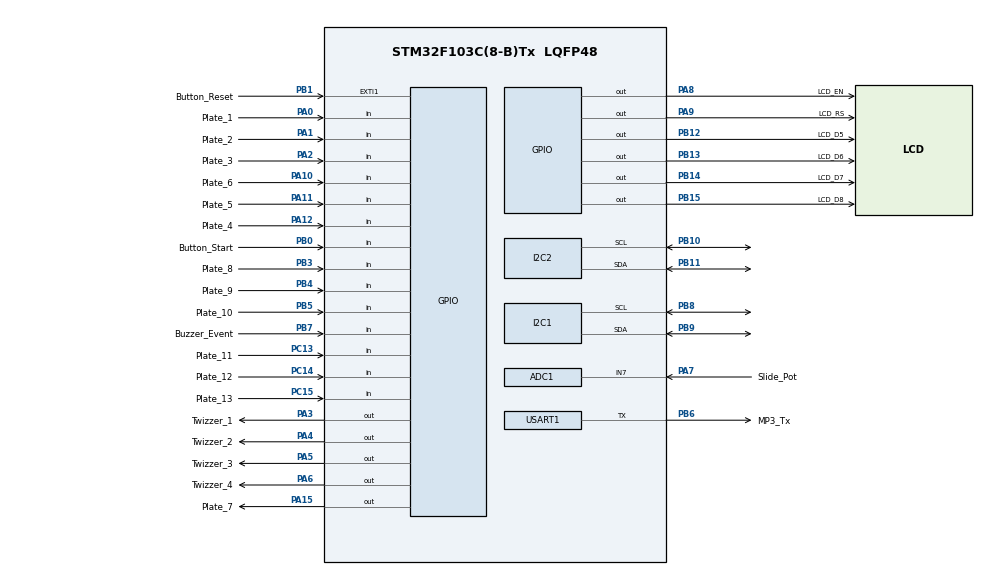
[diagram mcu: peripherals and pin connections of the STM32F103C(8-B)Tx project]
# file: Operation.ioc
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ADC1.Channel-0\#ChannelRegularConversion=ADC_CHANNEL_7
ADC1.ContinuousConvMode=ENABLE
ADC1.NbrOfConversionFlag=1
ADC1.Rank-0\#ChannelRegularConversion=1
ADC1.SamplingTime-0\#ChannelRegularConversion=ADC_SAMPLETIME_1CYCLE_5
ADC1.master=1
FREERTOS.BinarySemaphores01=OLED1_sem,Dynamic,NULL;OLED2_sem,Dynamic,NULL;OLED3_sem,Dynamic,NULL;OLED4_sem,Dynamic,NULL;Music_sem,Dynamic,NULL
FREERTOS.INCLUDE_vTaskDelayUntil=1
FREERTOS.Tasks01=LCD,3,128,LCD_Function,Default,NULL,Dynamic,NULL,NULL;Play_Sound,0,128,Sound_Function,Default,NULL,Dynamic,NULL,NULL;GamePlay,-1,128,Game,Default,NULL,Dynamic,NULL,NULL
FREERTOS.configTOTAL_HEAP_SIZE=6148
I2C1.I2C_Mode=I2C_Fast
I2C2.I2C_Mode=I2C_Fast
Mcu.Family=STM32F1
Mcu.Name=STM32F103C(8-B)Tx
Mcu.Package=LQFP48
NVIC.PriorityGroup=NVIC_PRIORITYGROUP_4
NVIC.TIM2_IRQn=true\:0\:0\:false\:false\:true\:false\:false\:true
NVIC.TIM3_IRQn=true\:0\:0\:false\:false\:true\:true\:true\:true
NVIC.TimeBase=TIM2_IRQn
NVIC.TimeBaseIP=TIM2
PA0-WKUP.GPIO_Label=Plate_1
PA0-WKUP.GPIO_PuPd=GPIO_PULLDOWN
PA0-WKUP.Signal=GPIO_Input
PA1.GPIO_Label=Plate_2
PA1.GPIO_PuPd=GPIO_PULLDOWN
PA1.Signal=GPIO_Input
PA10.GPIO_Label=Plate_6
PA10.GPIO_PuPd=GPIO_PULLDOWN
PA10.Signal=GPIO_Input
PA11.GPIO_Label=Plate_5
PA11.GPIO_PuPd=GPIO_PULLDOWN
PA11.Signal=GPIO_Input
PA12.GPIO_Label=Plate_4
PA12.GPIO_PuPd=GPIO_PULLDOWN
PA12.Signal=GPIO_Input
PA13.Mode=Serial_Wire
PA13.Signal=SYS_JTMS-SWDIO
PA14.Mode=Serial_Wire
PA14.Signal=SYS_JTCK-SWCLK
PA15.GPIO_Label=Plate_7
PA15.Signal=GPIO_Output
PA2.GPIO_Label=Plate_3
PA2.GPIO_PuPd=GPIO_PULLDOWN
PA2.Signal=GPIO_Input
PA3.GPIO_Label=Twizzer_1
PA3.Signal=GPIO_Output
PA4.GPIO_Label=Twizzer_2
PA4.Signal=GPIO_Output
PA5.GPIO_Label=Twizzer_3
PA5.Signal=GPIO_Output
PA6.GPIO_Label=Twizzer_4
PA6.Signal=GPIO_Output
PA7.GPIO_Label=Slide_Pot
PA7.Signal=SharedAnalog_PA7
PA8.GPIO_Label=LCD_EN
PA8.Signal=GPIO_Output
PA9.GPIO_Label=LCD_RS
PA9.Signal=GPIO_Output
PB0.GPIO_Label=Button_Start
PB0.Signal=GPIO_Input
PB1.GPIO_Label=Button_Reset
PB1.Signal=GPXTI1
PB10.Mode=I2C
PB10.Signal=I2C2_SCL
PB11.Mode=I2C
PB11.Signal=I2C2_SDA
PB12.GPIO_Label=LCD_D5
PB12.Signal=GPIO_Output
PB13.GPIO_Label=LCD_D6
PB13.Signal=GPIO_Output
PB14.GPIO_Label=LCD_D7
PB14.Signal=GPIO_Output
PB15.GPIO_Label=LCD_D8
PB15.Signal=GPIO_Output
PB3.GPIO_Label=Plate_8
PB3.GPIO_PuPd=GPIO_PULLDOWN
PB3.Signal=GPIO_Input
PB4.GPIO_Label=Plate_9
PB4.GPIO_PuPd=GPIO_PULLDOWN
PB4.Signal=GPIO_Input
PB5.GPIO_Label=Plate_10
PB5.GPIO_PuPd=GPIO_PULLDOWN
PB5.Signal=GPIO_Input
PB6.GPIO_Label=MP3_Tx
PB6.Mode=Half_duplex(single_wire_mode)
PB6.Signal=USART1_TX
PB7.GPIO_Label=Buzzer_Event
PB7.Signal=GPIO_Input
PB8.Mode=I2C
PB8.Signal=I2C1_SCL
PB9.Mode=I2C
PB9.Signal=I2C1_SDA
PC13-TAMPER-RTC.GPIO_Label=Plate_11
PC13-TAMPER-RTC.GPIO_PuPd=GPIO_PULLDOWN
PC13-TAMPER-RTC.Signal=GPIO_Input
PC14-OSC32_IN.GPIO_Label=Plate_12
PC14-OSC32_IN.GPIO_PuPd=GPIO_PULLDOWN
PC14-OSC32_IN.Signal=GPIO_Input
PC15-OSC32_OUT.GPIO_Label=Plate_13
PC15-OSC32_OUT.GPIO_PuPd=GPIO_PULLDOWN
PC15-OSC32_OUT.Signal=GPIO_Input
PD0-OSC_IN.Mode=HSE-External-Oscillator
PD0-OSC_IN.Signal=RCC_OSC_IN
PD1-OSC_OUT.Mode=HSE-External-Oscillator
PD1-OSC_OUT.Signal=RCC_OSC_OUT
ProjectManager.HeapSize=0x200
ProjectManager.StackSize=0x400
ProjectManager.TargetToolchain=STM32CubeIDE
RCC.APB1Freq_Value=8000000
RCC.APB2Freq_Value=8000000
SH.SharedAnalog_PA7.0=GPIO_Analog
SH.SharedAnalog_PA7.1=ADC1_IN7,IN7
TIM3.Period=0xffff-1
TIM3.Prescaler=72-1
USART1.BaudRate=9600
USART1.Mode=MODE_TX
USART1.VirtualMode=VM_ASYNC
VP_FREERTOS_VS_CMSIS_V1.Mode=CMSIS_V1
VP_SYS_VS_tim2.Mode=TIM2
VP_TIM3_VS_ClockSourceINT.Mode=Internal
board=custom

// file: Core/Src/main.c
/* USER CODE BEGIN Header */
/**
  ******************************************************************************
  * @file           : main.c
  * @brief          : Main program body
  * Author		:Ahmed Hisham Farouk
  ******************************************************************************
  * @attention
  *
  * <h2><center>&copy; Copyright (c) 2024 STMicroelectronics.
  * All rights reserved.</center></h2>
  *
  * This software component is licensed by ST under BSD 3-Clause license,
  * the "License"; You may not use this file except in compliance with the
  * License. You may obtain a copy of the License at:
  *                        opensource.org/licenses/BSD-3-Clause
  *
  ******************************************************************************
  */
/* USER CODE END Header */
#include "main.h"
#include "cmsis_os.h"

/* USER CODE BEGIN Includes */
#include "lcd.h"
#include "ssd1306.h"
#include "fonts.h"
#include "DFPLAYER_MINI.h"

/* USER CODE END Includes */

/* USER CODE BEGIN PTD */

typedef enum {
	OLED1=0,
	OLED2,
	OLED3,
	OLED4
}OLED_type;

typedef struct{
	GPIO_TypeDef *	In_Port;
	uint16_t In_Pin;
}Input_H;

typedef enum{
	Interrupted,
	Timeout,
	Waiting
}TIM_State;
/* USER CODE END PTD */

/* USER CODE BEGIN PD */
#define OLED1_ADD	0x78
#define OLED2_ADD	0x7A
/* USER CODE END PD */

ADC_HandleTypeDef hadc1;

I2C_HandleTypeDef hi2c1;
I2C_HandleTypeDef hi2c2;

TIM_HandleTypeDef htim3;

UART_HandleTypeDef huart1;

osThreadId LCDHandle;
osThreadId Play_SoundHandle;
osThreadId GamePlayHandle;
osSemaphoreId OLED1_semHandle;
osSemaphoreId OLED2_semHandle;
osSemaphoreId OLED3_semHandle;
osSemaphoreId OLED4_semHandle;
osSemaphoreId Music_semHandle;
/* USER CODE BEGIN PV */
uint32_t Score_Player[4];
Input_H Input_Position [] = {
		{Plate_1_GPIO_Port,Plate_1_Pin},{Plate_2_GPIO_Port,Plate_2_Pin},{Plate_3_GPIO_Port,Plate_3_Pin},{Plate_4_GPIO_Port,Plate_4_Pin},
		{Plate_5_GPIO_Port,Plate_5_Pin},{Plate_6_GPIO_Port,Plate_6_Pin},{Plate_7_GPIO_Port,Plate_7_Pin},{Plate_8_GPIO_Port,Plate_8_Pin},
		{Plate_9_GPIO_Port,Plate_9_Pin},{Plate_10_GPIO_Port,Plate_10_Pin},{Plate_11_GPIO_Port,Plate_11_Pin},{Plate_12_GPIO_Port,Plate_12_Pin},
		{Plate_13_GPIO_Port,Plate_13_Pin}
};
unsigned char Score_Plate[] = {
		1,2,3,4,
		5,6,7,8,
		9,10,11,12,
		13
};
uint16_t Twizzers_Pins[] = {	Twizzer_1_Pin , Twizzer_2_Pin , Twizzer_3_Pin , Twizzer_4_Pin};

char Start_Time = -1;
TIM_State State = Interrupted;

uint8_t PlatesCounter;

char* Colors[] = {"Blue","Red","Green", "Yellow"};
/* USER CODE END PV */

void SystemClock_Config(void);
static void MX_GPIO_Init(void);
static void MX_I2C1_Init(void);
static void MX_I2C2_Init(void);
static void MX_USART1_UART_Init(void);
static void MX_ADC1_Init(void);
static void MX_TIM3_Init(void);
void LCD_Function(void const * argument);
void Sound_Function(void const * argument);
void Game(void const * argument);

/* USER CODE BEGIN PFP */
uint8_t get_timeIn(void);
void print_OLED(OLED_type OLED, char* string);

void Start_Game(void);

void End_Game(void);

/* USER CODE END PFP */

/* USER CODE BEGIN 0 */
uint8_t get_timeIn(void)
{
	uint32_t adc_value =0;

	HAL_ADC_Start(&hadc1);
		  // ADC poll for conversion
	HAL_ADC_PollForConversion(&hadc1, 100);
		  // get the ADC conversion value
	adc_value = HAL_ADC_GetValue(&hadc1);
		  // end ADC conversion
	HAL_ADC_Stop(&hadc1);
	/*	edit conversion from ADC to Time	*/
	uint8_t time = (uint8_t) (adc_value/10);
	return time;

}

void print_OLED(OLED_type OLED, char* string)
{
	switch(OLED)
	{
	case OLED1:
		ssd1306_SetCursor(0, 0);
		  ssd1306_WriteString("Blue Player", Font_11x18, White);

		  ssd1306_SetCursor(0, 36);
		  ssd1306_WriteString(string, Font_11x18, White);

		  ssd1306_UpdateScreen(&hi2c1,OLED1_ADD);
		break;

	case OLED2:
		ssd1306_SetCursor(0, 0);
		ssd1306_WriteString("Red Player", Font_11x18, White);

		ssd1306_SetCursor(0, 36);
		ssd1306_WriteString(string, Font_11x18, White);

		ssd1306_UpdateScreen(&hi2c1,OLED2_ADD);
		break;

	case OLED3:
		ssd1306_SetCursor(0, 0);
		ssd1306_WriteString("Green Player", Font_11x18, White);

		ssd1306_SetCursor(0, 36);
		ssd1306_WriteString(string, Font_11x18, White);

		ssd1306_UpdateScreen(&hi2c2,OLED1_ADD);
		break;
	case OLED4:
		ssd1306_SetCursor(0, 0);
		ssd1306_WriteString("Yellow Player", Font_11x18, White);

		ssd1306_SetCursor(0, 36);
		ssd1306_WriteString(string, Font_11x18, White);

		ssd1306_UpdateScreen(&hi2c2,OLED2_ADD);
		break;

	default:
		break;

	}

}

void Start_Game(void)
{
	vTaskSuspend(GamePlayHandle);
	char *ttl = "To skip Tutorial, Press Start";
		  	clearLCD();
		  	setCursor(0,0);
		  	writeLCD(ttl);

		    Start_Time = 5;
		    State=Waiting;
		    while(State ==Waiting)
		    {
		    	if (HAL_GPIO_ReadPin(Button_Start_GPIO_Port, Button_Start_Pin))
		    	{
		    		State = Interrupted;
		    	}
		    }

		    if (State ==Interrupted)
		    {

		    }
		    else
		    {
		    	clearLCD();
		    	ttl = "Explain Game";
		    	writeLCD(ttl);

		    	Start_Time = 5;
		    	State = Waiting;
		    	while(State == Waiting)
		    	{
		    		if (HAL_GPIO_ReadPin(Button_Start_GPIO_Port, Button_Start_Pin))
		    		{
		    			State = Interrupted;
		    		}
		    	}

		    }

	clearLCD();
	writeLCD("Set Game Time");
	setCursor(10,1);
	writeLCD("Start");
	while(!HAL_GPIO_ReadPin(Button_Start_GPIO_Port, Button_Start_Pin))
	{
		setCursor(0,1);
		char Str_Buffer[6];
		sprintf(Str_Buffer, "%d", get_timeIn());
		Str_Buffer[5]='\0';
		writeLCD(Str_Buffer);
	}

	Start_Time=get_timeIn();
	vTaskResume(GamePlayHandle);

}

void End_Game(void)
{
	vTaskSuspend(LCDHandle);

	uint32_t max_score =0;
	Start_Time =-1;
	State = Interrupted;

	for (uint8_t player_num=0;player_num < 4 ; player_num++)
	{
		if(max_score > Score_Player[player_num])
		{
			max_score = Score_Player[player_num];
		}

	}

	clearLCD();

	if(max_score>0)
	{
		writeLCD("Winner:");
		setCursor(0,1);
		for (uint8_t player_num=0;player_num < 4 ; player_num++)
			{
				if(max_score == Score_Player[player_num])
				{
					print_OLED(player_num, "Winner!");

					writeLCD(Colors[player_num]);
					writeLCD(" ");

				}
				else
				{
					print_OLED(player_num, "Game Over");
				}

			}
	}
	else{
		for (uint8_t player_num=0;player_num < 4 ; player_num++)
					{

							print_OLED(player_num, "Game Over");

					}
		writeLCD("No Winners");
	}

	Start_Time = 15;
	State=Waiting;
	while(State ==Waiting)
	{
		if (HAL_GPIO_ReadPin(Button_Start_GPIO_Port, Button_Start_Pin))
		{
			State = Interrupted;
			Start_Time=-1;
		}
	}
	vTaskResume(LCDHandle);

}

/* USER CODE END 0 */

int main(void)
{

  /* MCU Configuration--------------------------------------------------------*/

  /* Reset of all peripherals, Initializes the Flash interface and the Systick. */
  HAL_Init();

  /* Configure the system clock */
  SystemClock_Config();

  /* Initialize all configured peripherals */
  MX_GPIO_Init();
  MX_I2C1_Init();
  MX_I2C2_Init();
  MX_USART1_UART_Init();
  MX_ADC1_Init();
  MX_TIM3_Init();
  /* USER CODE BEGIN 2 */
  HAL_ADC_Start(&hadc1);
  DF_Init(10);
  initLCD();
  // Init lcd using one of the stm32HAL i2c typedefs
  if (ssd1306_Init(&hi2c1,OLED1_ADD) != 0) {
    Error_Handler();
  }

  if (ssd1306_Init(&hi2c1,OLED2_ADD) != 0) {
      Error_Handler();
    }

  if (ssd1306_Init(&hi2c2,OLED1_ADD) != 0) {
      Error_Handler();
    }

  if (ssd1306_Init(&hi2c2,OLED2_ADD) != 0) {
      Error_Handler();
    }
  HAL_Delay(1000);

  ssd1306_Fill(Black);
  ssd1306_UpdateScreen(&hi2c1,OLED1_ADD);

  ssd1306_Fill(Black);
  ssd1306_UpdateScreen(&hi2c1,OLED2_ADD);

  ssd1306_Fill(Black);
  ssd1306_UpdateScreen(&hi2c2,OLED1_ADD);

  ssd1306_Fill(Black);
  ssd1306_UpdateScreen(&hi2c2,OLED2_ADD);

  HAL_Delay(1000);
  /* USER CODE END 2 */

  /* Create the semaphores(s) */
  /* definition and creation of OLED1_sem */
  osSemaphoreDef(OLED1_sem);
  OLED1_semHandle = osSemaphoreCreate(osSemaphore(OLED1_sem), 1);

  /* definition and creation of OLED2_sem */
  osSemaphoreDef(OLED2_sem);
  OLED2_semHandle = osSemaphoreCreate(osSemaphore(OLED2_sem), 1);

  /* definition and creation of OLED3_sem */
  osSemaphoreDef(OLED3_sem);
  OLED3_semHandle = osSemaphoreCreate(osSemaphore(OLED3_sem), 1);

  /* definition and creation of OLED4_sem */
  osSemaphoreDef(OLED4_sem);
  OLED4_semHandle = osSemaphoreCreate(osSemaphore(OLED4_sem), 1);

  /* definition and creation of Music_sem */
  osSemaphoreDef(Music_sem);
  Music_semHandle = osSemaphoreCreate(osSemaphore(Music_sem), 1);

  /* Create the thread(s) */
  /* definition and creation of LCD */
  osThreadDef(LCD, LCD_Function, osPriorityRealtime, 0, 128);
  LCDHandle = osThreadCreate(osThread(LCD), NULL);

  /* definition and creation of Play_Sound */
  osThreadDef(Play_Sound, Sound_Function, osPriorityNormal, 0, 128);
  Play_SoundHandle = osThreadCreate(osThread(Play_Sound), NULL);

  /* definition and creation of GamePlay */
  osThreadDef(GamePlay, Game, osPriorityBelowNormal, 0, 128);
  GamePlayHandle = osThreadCreate(osThread(GamePlay), NULL);

  /* Start scheduler */
  osKernelStart();

  /* We should never get here as control is now taken by the scheduler */
  /* Infinite loop */
  while (1)
  {

  }
}

void SystemClock_Config(void)
{
  RCC_OscInitTypeDef RCC_OscInitStruct = {0};
  RCC_ClkInitTypeDef RCC_ClkInitStruct = {0};
  RCC_PeriphCLKInitTypeDef PeriphClkInit = {0};

  /** Initializes the RCC Oscillators according to the specified parameters
  * in the RCC_OscInitTypeDef structure.
  */
  RCC_OscInitStruct.OscillatorType = RCC_OSCILLATORTYPE_HSI;
  RCC_OscInitStruct.HSIState = RCC_HSI_ON;
  RCC_OscInitStruct.HSICalibrationValue = RCC_HSICALIBRATION_DEFAULT;
  RCC_OscInitStruct.PLL.PLLState = RCC_PLL_NONE;
  if (HAL_RCC_OscConfig(&RCC_OscInitStruct) != HAL_OK)
  {
    Error_Handler();
  }
  /** Initializes the CPU, AHB and APB buses clocks
  */
  RCC_ClkInitStruct.ClockType = RCC_CLOCKTYPE_HCLK|RCC_CLOCKTYPE_SYSCLK
                              |RCC_CLOCKTYPE_PCLK1|RCC_CLOCKTYPE_PCLK2;
  RCC_ClkInitStruct.SYSCLKSource = RCC_SYSCLKSOURCE_HSI;
  RCC_ClkInitStruct.AHBCLKDivider = RCC_SYSCLK_DIV1;
  RCC_ClkInitStruct.APB1CLKDivider = RCC_HCLK_DIV1;
  RCC_ClkInitStruct.APB2CLKDivider = RCC_HCLK_DIV1;

  if (HAL_RCC_ClockConfig(&RCC_ClkInitStruct, FLASH_LATENCY_0) != HAL_OK)
  {
    Error_Handler();
  }
  PeriphClkInit.PeriphClockSelection = RCC_PERIPHCLK_ADC;
  PeriphClkInit.AdcClockSelection = RCC_ADCPCLK2_DIV2;
  if (HAL_RCCEx_PeriphCLKConfig(&PeriphClkInit) != HAL_OK)
  {
    Error_Handler();
  }
}

static void MX_ADC1_Init(void)
{

  ADC_ChannelConfTypeDef sConfig = {0};

  /** Common config
  */
  hadc1.Instance = ADC1;
  hadc1.Init.ScanConvMode = ADC_SCAN_DISABLE;
  hadc1.Init.ContinuousConvMode = ENABLE;
  hadc1.Init.DiscontinuousConvMode = DISABLE;
  hadc1.Init.ExternalTrigConv = ADC_SOFTWARE_START;
  hadc1.Init.DataAlign = ADC_DATAALIGN_RIGHT;
  hadc1.Init.NbrOfConversion = 1;
  if (HAL_ADC_Init(&hadc1) != HAL_OK)
  {
    Error_Handler();
  }
  /** Configure Regular Channel
  */
  sConfig.Channel = ADC_CHANNEL_7;
  sConfig.Rank = ADC_REGULAR_RANK_1;
  sConfig.SamplingTime = ADC_SAMPLETIME_1CYCLE_5;
  if (HAL_ADC_ConfigChannel(&hadc1, &sConfig) != HAL_OK)
  {
    Error_Handler();
  }

}

static void MX_I2C1_Init(void)
{

  hi2c1.Instance = I2C1;
  hi2c1.Init.ClockSpeed = 400000;
  hi2c1.Init.DutyCycle = I2C_DUTYCYCLE_2;
  hi2c1.Init.OwnAddress1 = 0;
  hi2c1.Init.AddressingMode = I2C_ADDRESSINGMODE_7BIT;
  hi2c1.Init.DualAddressMode = I2C_DUALADDRESS_DISABLE;
  hi2c1.Init.OwnAddress2 = 0;
  hi2c1.Init.GeneralCallMode = I2C_GENERALCALL_DISABLE;
  hi2c1.Init.NoStretchMode = I2C_NOSTRETCH_DISABLE;
  if (HAL_I2C_Init(&hi2c1) != HAL_OK)
  {
    Error_Handler();
  }

}

static void MX_I2C2_Init(void)
{

  hi2c2.Instance = I2C2;
  hi2c2.Init.ClockSpeed = 400000;
  hi2c2.Init.DutyCycle = I2C_DUTYCYCLE_2;
  hi2c2.Init.OwnAddress1 = 0;
  hi2c2.Init.AddressingMode = I2C_ADDRESSINGMODE_7BIT;
  hi2c2.Init.DualAddressMode = I2C_DUALADDRESS_DISABLE;
  hi2c2.Init.OwnAddress2 = 0;
  hi2c2.Init.GeneralCallMode = I2C_GENERALCALL_DISABLE;
  hi2c2.Init.NoStretchMode = I2C_NOSTRETCH_DISABLE;
  if (HAL_I2C_Init(&hi2c2) != HAL_OK)
  {
    Error_Handler();
  }

}

static void MX_TIM3_Init(void)
{

  TIM_ClockConfigTypeDef sClockSourceConfig = {0};
  TIM_MasterConfigTypeDef sMasterConfig = {0};

  htim3.Instance = TIM3;
  htim3.Init.Prescaler = 72-1;
  htim3.Init.CounterMode = TIM_COUNTERMODE_UP;
  htim3.Init.Period = 0xffff-1;
  htim3.Init.ClockDivision = TIM_CLOCKDIVISION_DIV1;
  htim3.Init.AutoReloadPreload = TIM_AUTORELOAD_PRELOAD_DISABLE;
  if (HAL_TIM_Base_Init(&htim3) != HAL_OK)
  {
    Error_Handler();
  }
  sClockSourceConfig.ClockSource = TIM_CLOCKSOURCE_INTERNAL;
  if (HAL_TIM_ConfigClockSource(&htim3, &sClockSourceConfig) != HAL_OK)
  {
    Error_Handler();
  }
  sMasterConfig.MasterOutputTrigger = TIM_TRGO_RESET;
  sMasterConfig.MasterSlaveMode = TIM_MASTERSLAVEMODE_DISABLE;
  if (HAL_TIMEx_MasterConfigSynchronization(&htim3, &sMasterConfig) != HAL_OK)
  {
    Error_Handler();
  }

}

static void MX_USART1_UART_Init(void)
{

  huart1.Instance = USART1;
  huart1.Init.BaudRate = 9600;
  huart1.Init.WordLength = UART_WORDLENGTH_8B;
  huart1.Init.StopBits = UART_STOPBITS_1;
  huart1.Init.Parity = UART_PARITY_NONE;
  huart1.Init.Mode = UART_MODE_TX;
  huart1.Init.HwFlowCtl = UART_HWCONTROL_NONE;
  huart1.Init.OverSampling = UART_OVERSAMPLING_16;
  if (HAL_HalfDuplex_Init(&huart1) != HAL_OK)
  {
    Error_Handler();
  }

}

static void MX_GPIO_Init(void)
{
  GPIO_InitTypeDef GPIO_InitStruct = {0};

  /* GPIO Ports Clock Enable */
  __HAL_RCC_GPIOC_CLK_ENABLE();
  __HAL_RCC_GPIOD_CLK_ENABLE();
  __HAL_RCC_GPIOA_CLK_ENABLE();
  __HAL_RCC_GPIOB_CLK_ENABLE();

  /*Configure GPIO pin Output Level */
  HAL_GPIO_WritePin(GPIOA, Twizzer_1_Pin|Twizzer_2_Pin|Twizzer_3_Pin|Twizzer_4_Pin
                          |LCD_EN_Pin|LCD_RS_Pin|Plate_7_Pin, GPIO_PIN_RESET);

  /*Configure GPIO pin Output Level */
  HAL_GPIO_WritePin(GPIOB, LCD_D5_Pin|LCD_D6_Pin|LCD_D7_Pin|LCD_D8_Pin, GPIO_PIN_RESET);

  /*Configure GPIO pins : Plate_11_Pin Plate_12_Pin Plate_13_Pin */
  GPIO_InitStruct.Pin = Plate_11_Pin|Plate_12_Pin|Plate_13_Pin;
  GPIO_InitStruct.Mode = GPIO_MODE_INPUT;
  GPIO_InitStruct.Pull = GPIO_PULLDOWN;
  HAL_GPIO_Init(GPIOC, &GPIO_InitStruct);

  /*Configure GPIO pins : Plate_1_Pin Plate_2_Pin Plate_3_Pin Plate_6_Pin
                           Plate_5_Pin Plate_4_Pin */
  GPIO_InitStruct.Pin = Plate_1_Pin|Plate_2_Pin|Plate_3_Pin|Plate_6_Pin
                          |Plate_5_Pin|Plate_4_Pin;
  GPIO_InitStruct.Mode = GPIO_MODE_INPUT;
  GPIO_InitStruct.Pull = GPIO_PULLDOWN;
  HAL_GPIO_Init(GPIOA, &GPIO_InitStruct);

  /*Configure GPIO pins : Twizzer_1_Pin Twizzer_2_Pin Twizzer_3_Pin Twizzer_4_Pin
                           LCD_EN_Pin LCD_RS_Pin Plate_7_Pin */
  GPIO_InitStruct.Pin = Twizzer_1_Pin|Twizzer_2_Pin|Twizzer_3_Pin|Twizzer_4_Pin
                          |LCD_EN_Pin|LCD_RS_Pin|Plate_7_Pin;
  GPIO_InitStruct.Mode = GPIO_MODE_OUTPUT_PP;
  GPIO_InitStruct.Pull = GPIO_NOPULL;
  GPIO_InitStruct.Speed = GPIO_SPEED_FREQ_LOW;
  HAL_GPIO_Init(GPIOA, &GPIO_InitStruct);

  /*Configure GPIO pins : Button_Start_Pin Buzzer_Event_Pin */
  GPIO_InitStruct.Pin = Button_Start_Pin|Buzzer_Event_Pin;
  GPIO_InitStruct.Mode = GPIO_MODE_INPUT;
  GPIO_InitStruct.Pull = GPIO_NOPULL;
  HAL_GPIO_Init(GPIOB, &GPIO_InitStruct);

  /*Configure GPIO pin : Button_Reset_Pin */
  GPIO_InitStruct.Pin = Button_Reset_Pin;
  GPIO_InitStruct.Mode = GPIO_MODE_IT_RISING;
  GPIO_InitStruct.Pull = GPIO_NOPULL;
  HAL_GPIO_Init(Button_Reset_GPIO_Port, &GPIO_InitStruct);

  /*Configure GPIO pins : LCD_D5_Pin LCD_D6_Pin LCD_D7_Pin LCD_D8_Pin */
  GPIO_InitStruct.Pin = LCD_D5_Pin|LCD_D6_Pin|LCD_D7_Pin|LCD_D8_Pin;
  GPIO_InitStruct.Mode = GPIO_MODE_OUTPUT_PP;
  GPIO_InitStruct.Pull = GPIO_NOPULL;
  GPIO_InitStruct.Speed = GPIO_SPEED_FREQ_LOW;
  HAL_GPIO_Init(GPIOB, &GPIO_InitStruct);

  /*Configure GPIO pins : Plate_8_Pin Plate_9_Pin Plate_10_Pin */
  GPIO_InitStruct.Pin = Plate_8_Pin|Plate_9_Pin|Plate_10_Pin;
  GPIO_InitStruct.Mode = GPIO_MODE_INPUT;
  GPIO_InitStruct.Pull = GPIO_PULLDOWN;
  HAL_GPIO_Init(GPIOB, &GPIO_InitStruct);

}

void LCD_Function(void const * argument)
{
  /* USER CODE BEGIN 5 */

	Start_Game();
  /* Infinite loop */
  for(;;)
  {
	  if(Start_Time >0)
	  {
		  setCursor(0,1);
		  writeLCD("                ");
		  setCursor(0,1);
		  char Str_Buffer[6];
		  sprintf(Str_Buffer, "%d", Start_Time);
		  Str_Buffer[5]='\0';
		  writeLCD(Str_Buffer);
	  }
	  else if (Start_Time == -1)
	  {
		  Start_Game();
	  }

	  osDelay(400);
  }
  /* USER CODE END 5 */
}

void Sound_Function(void const * argument)
{
  for(;;)
  {
    osDelay(1);
  }
}

void Game(void const * argument)
{
  /* USER CODE BEGIN Game */
	uint8_t value =0;

	/* Buffer to hold the string	*/
	char str[6];

  /* Infinite loop */
  for(;;)
  {

	  if(Start_Time >0)
	  {
		  for (uint8_t Twizzer =0;Twizzer<4;Twizzer++)
		  {
			  HAL_GPIO_WritePin(GPIOA, Twizzer_1_Pin|Twizzer_2_Pin|Twizzer_3_Pin|Twizzer_4_Pin, GPIO_PIN_RESET);
			  HAL_GPIO_WritePin(GPIOA,Twizzers_Pins[Twizzer],GPIO_PIN_SET);

			  HAL_Delay(5);		/* Till Twizzer is Charged */

			  for(uint8_t plate=0;plate<13;plate++)
			  {
				  value=HAL_GPIO_ReadPin(Input_Position[plate].In_Port,Input_Position[plate].In_Pin);
				  if (value)
				  {
					  Score_Player[Twizzer] += Score_Plate[plate];
					  if(Score_Plate[plate])
					  {
						  PlatesCounter++;
						  if (PlatesCounter >=13)
						  {
							  End_Game();
							  break;
						  }
					  }
					  Score_Plate[plate]=0;

					  if (State == Timeout)
					  {
						  End_Game();
						  break;
					  }

					  /* Converting integer to string using sprintf	*/
					  sprintf(str, "%d", Score_Player[Twizzer]);

					  str[5]='\0';

					  print_OLED(Twizzer, str);

				  }
			  }
			  HAL_GPIO_WritePin(GPIOA, Twizzer_1_Pin|Twizzer_2_Pin|Twizzer_3_Pin|Twizzer_4_Pin, GPIO_PIN_RESET);
		  }
	  }
    osDelay(200);
  }
  /* USER CODE END Game */
}

void HAL_TIM_PeriodElapsedCallback(TIM_HandleTypeDef *htim)
{
  if (htim->Instance == TIM2) {
    HAL_IncTick();
  }
}

void Error_Handler(void)
{
}

/************************ (C) COPYRIGHT STMicroelectronics *****END OF FILE****/
